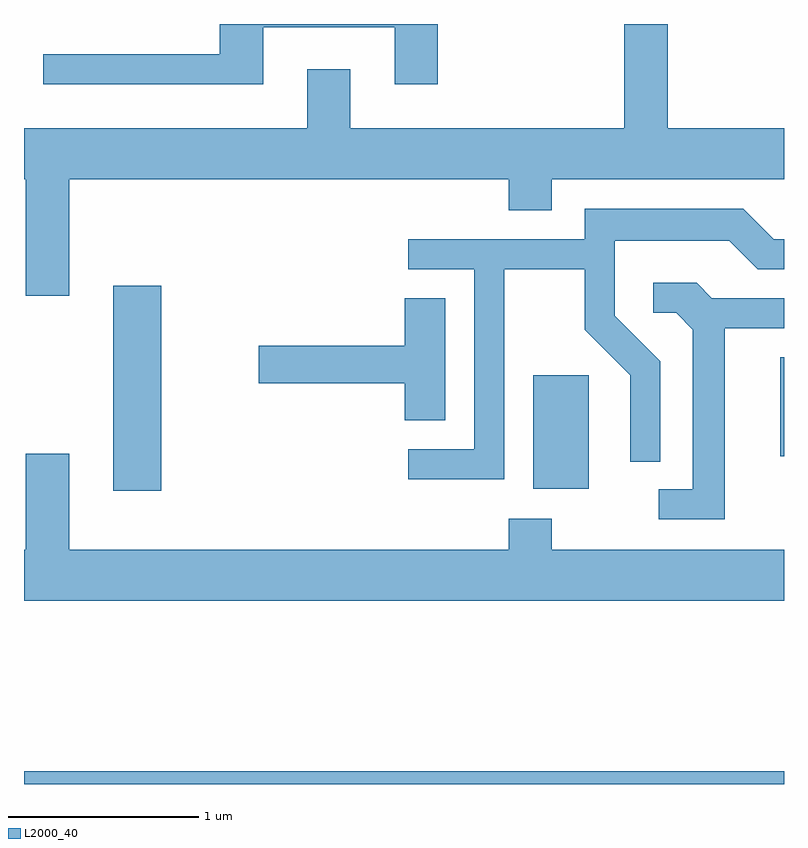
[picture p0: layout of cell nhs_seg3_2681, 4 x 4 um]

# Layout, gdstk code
import gdstk
lib = gdstk.Library(unit=1e-6, precision=1e-09)
def R(c, l, rs):  # rectangles x0, y0, x1, y1
    for r in rs: c.add(gdstk.rectangle(r[:2], r[2:], *l))
def P(c, l, *ps):  # polygons
    for p in ps: c.add(gdstk.Polygon(p, *l))
L2000_40 = (2000, 40)

nhs_seg3_2681 = lib.new_cell('nhs_seg3_2681')
R(nhs_seg3_2681, L2000_40, [(263.611,1173.892,267.611,1173.959), (264.081,1175.436,264.334,1176.514), (266.291,1175.446,266.584,1176.044), (267.591,1175.616,267.611,1176.139)])
P(nhs_seg3_2681, L2000_40, [(263.849,1177.076),(266.161,1177.076),(266.161,1176.911),(266.389,1176.911),(266.389,1177.076),(267.611,1177.076),(267.611,1177.344),(266.999,1177.344),(266.999,1177.892),(266.771,1177.892),(266.771,1177.344),(265.329,1177.344),(265.329,1177.654),(265.101,1177.654),(265.101,1177.344),(263.611,1177.344),(263.611,1177.076),(263.621,1177.076),(263.621,1176.461),(263.849,1176.461)],
  [(264.869,1177.876),(265.561,1177.876),(265.561,1177.576),(265.789,1177.576),(265.789,1177.892),(264.641,1177.892),(264.641,1177.734),(263.713,1177.734),(263.713,1177.576),(264.869,1177.576)],
  [(266.139,1176.601),(266.561,1176.601),(266.561,1176.284),(266.801,1176.044),(266.801,1175.588),(266.959,1175.588),(266.959,1176.117),(266.719,1176.357),(266.719,1176.751),(267.324,1176.751),(267.474,1176.601),(267.611,1176.601),(267.611,1176.759),(267.557,1176.759),(267.397,1176.919),(266.561,1176.919),(266.561,1176.759),(265.633,1176.759),(265.633,1176.601),(265.981,1176.601),(265.981,1175.654),(265.633,1175.654),(265.633,1175.496),(266.139,1175.496)],
  [(267.299,1176.291),(267.611,1176.291),(267.611,1176.449),(267.232,1176.449),(267.152,1176.529),(266.923,1176.529),(266.923,1176.371),(267.044,1176.371),(267.131,1176.284),(267.131,1175.444),(266.953,1175.444),(266.953,1175.286),(267.299,1175.286)],
  [(265.829,1176.449),(265.616,1176.449),(265.616,1176.199),(264.846,1176.199),(264.846,1176.001),(265.616,1176.001),(265.616,1175.806),(265.829,1175.806)],
  [(267.611,1175.124),(266.389,1175.124),(266.389,1175.289),(266.161,1175.289),(266.161,1175.124),(263.849,1175.124),(263.849,1175.629),(263.621,1175.629),(263.621,1175.124),(263.611,1175.124),(263.611,1174.856),(267.611,1174.856)])

lib.write_gds('nhs_seg3_2681.gds')
